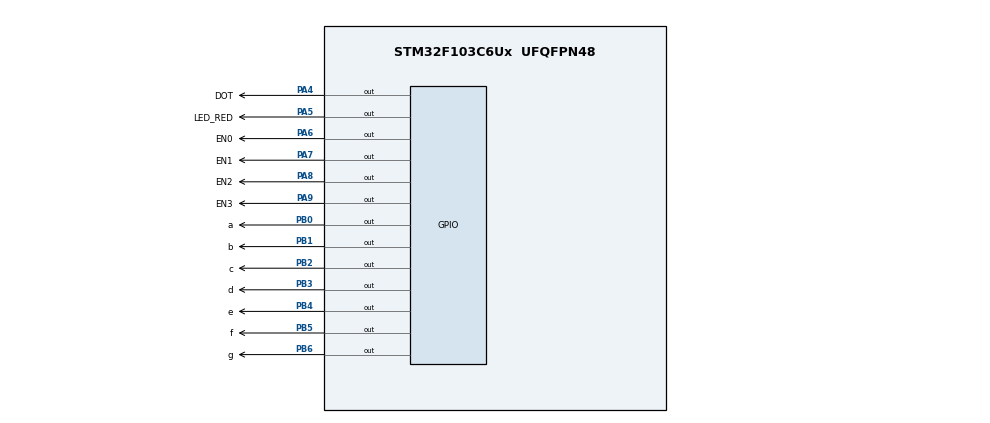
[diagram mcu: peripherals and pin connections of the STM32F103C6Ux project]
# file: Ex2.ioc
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Mcu.Family=STM32F1
Mcu.Name=STM32F103C6Ux
Mcu.Package=UFQFPN48
NVIC.PriorityGroup=NVIC_PRIORITYGROUP_4
NVIC.TIM2_IRQn=true\:0\:0\:false\:false\:true\:true\:true
PA4.GPIO_Label=DOT
PA4.Signal=GPIO_Output
PA5.GPIO_Label=LED_RED
PA5.Signal=GPIO_Output
PA6.GPIO_Label=EN0
PA6.Signal=GPIO_Output
PA7.GPIO_Label=EN1
PA7.Signal=GPIO_Output
PA8.GPIO_Label=EN2
PA8.Signal=GPIO_Output
PA9.GPIO_Label=EN3
PA9.Signal=GPIO_Output
PB0.GPIO_Label=a
PB0.Signal=GPIO_Output
PB1.GPIO_Label=b
PB1.Signal=GPIO_Output
PB2.GPIO_Label=c
PB2.Signal=GPIO_Output
PB3.GPIO_Label=d
PB3.Signal=GPIO_Output
PB4.GPIO_Label=e
PB4.Signal=GPIO_Output
PB5.GPIO_Label=f
PB5.Signal=GPIO_Output
PB6.GPIO_Label=g
PB6.Signal=GPIO_Output
ProjectManager.HeapSize=0x200
ProjectManager.StackSize=0x400
ProjectManager.TargetToolchain=STM32CubeIDE
RCC.APB1Freq_Value=8000000
RCC.APB2Freq_Value=8000000
TIM2.Period=9
TIM2.Prescaler=7999
VP_SYS_VS_ND.Mode=No_Debug
VP_TIM2_VS_ClockSourceINT.Mode=Internal
board=custom

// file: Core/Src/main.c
/* USER CODE BEGIN Header */
/**
  ******************************************************************************
  * @file           : main.c
  * @brief          : Main program body
  ******************************************************************************
  * @attention
  *
  * <h2><center>&copy; Copyright (c) 2024 STMicroelectronics.
  * All rights reserved.</center></h2>
  *
  * This software component is licensed by ST under BSD 3-Clause license,
  * the "License"; You may not use this file except in compliance with the
  * License. You may obtain a copy of the License at:
  *                        opensource.org/licenses/BSD-3-Clause
  *
  ******************************************************************************
  */
/* USER CODE END Header */
#include "main.h"

/* USER CODE BEGIN Includes */
#include "software_timer.h"
#include "display7SEG.h"
/* USER CODE END Includes */

TIM_HandleTypeDef htim2;

void SystemClock_Config(void);
static void MX_TIM2_Init(void);
static void MX_GPIO_Init(void);
/* USER CODE BEGIN PFP */
void changeEN();
/* USER CODE END PFP */

int main(void)
{

  /* MCU Configuration--------------------------------------------------------*/

  /* Reset of all peripherals, Initializes the Flash interface and the Systick. */
  HAL_Init();

  /* Configure the system clock */
  SystemClock_Config();

  /* Initialize all configured peripherals */
  MX_TIM2_Init();
  MX_GPIO_Init();
  /* USER CODE BEGIN 2 */
  HAL_TIM_Base_Start_IT(&htim2);
  /* USER CODE END 2 */

  /* Infinite loop */
  /* USER CODE BEGIN WHILE */
  setTimer1(50);
  setTimer2(100);
  HAL_GPIO_WritePin(EN0_GPIO_Port, EN0_Pin, 0);
  HAL_GPIO_WritePin(EN1_GPIO_Port, EN1_Pin, 1);
  HAL_GPIO_WritePin(EN2_GPIO_Port, EN2_Pin, 1);
  HAL_GPIO_WritePin(EN3_GPIO_Port, EN3_Pin, 1);
  int status = 1;
  while (1)
  {
	  if(timer1_flag == 1){
		  changeEN();
		  switch(status){
		  	  case 1:
		  		  status = 2;
		  		  break;
		  	  case 2:
		  		  status = 3;
		  		  break;
		  	  case 3:
		  		  status = 0;
		  		  break;
		  	  case 0:
		  		  status = 1;
		  		  break;
		  	  default:
		  		  break;
		  }
		  setTimer1(50);
	  }

	  if(timer2_flag == 1){
		  HAL_GPIO_TogglePin(DOT_GPIO_Port, DOT_Pin);
		  setTimer2(100);
	  }

	  display7SEG(status);
    /* USER CODE END WHILE */

  }
}

void SystemClock_Config(void)
{
  RCC_OscInitTypeDef RCC_OscInitStruct = {0};
  RCC_ClkInitTypeDef RCC_ClkInitStruct = {0};

  /** Initializes the RCC Oscillators according to the specified parameters
  * in the RCC_OscInitTypeDef structure.
  */
  RCC_OscInitStruct.OscillatorType = RCC_OSCILLATORTYPE_HSI;
  RCC_OscInitStruct.HSIState = RCC_HSI_ON;
  RCC_OscInitStruct.HSICalibrationValue = RCC_HSICALIBRATION_DEFAULT;
  RCC_OscInitStruct.PLL.PLLState = RCC_PLL_NONE;
  if (HAL_RCC_OscConfig(&RCC_OscInitStruct) != HAL_OK)
  {
    Error_Handler();
  }
  /** Initializes the CPU, AHB and APB buses clocks
  */
  RCC_ClkInitStruct.ClockType = RCC_CLOCKTYPE_HCLK|RCC_CLOCKTYPE_SYSCLK
                              |RCC_CLOCKTYPE_PCLK1|RCC_CLOCKTYPE_PCLK2;
  RCC_ClkInitStruct.SYSCLKSource = RCC_SYSCLKSOURCE_HSI;
  RCC_ClkInitStruct.AHBCLKDivider = RCC_SYSCLK_DIV1;
  RCC_ClkInitStruct.APB1CLKDivider = RCC_HCLK_DIV1;
  RCC_ClkInitStruct.APB2CLKDivider = RCC_HCLK_DIV1;

  if (HAL_RCC_ClockConfig(&RCC_ClkInitStruct, FLASH_LATENCY_0) != HAL_OK)
  {
    Error_Handler();
  }
}

static void MX_TIM2_Init(void)
{

  TIM_ClockConfigTypeDef sClockSourceConfig = {0};
  TIM_MasterConfigTypeDef sMasterConfig = {0};

  htim2.Instance = TIM2;
  htim2.Init.Prescaler = 7999;
  htim2.Init.CounterMode = TIM_COUNTERMODE_UP;
  htim2.Init.Period = 9;
  htim2.Init.ClockDivision = TIM_CLOCKDIVISION_DIV1;
  htim2.Init.AutoReloadPreload = TIM_AUTORELOAD_PRELOAD_DISABLE;
  if (HAL_TIM_Base_Init(&htim2) != HAL_OK)
  {
    Error_Handler();
  }
  sClockSourceConfig.ClockSource = TIM_CLOCKSOURCE_INTERNAL;
  if (HAL_TIM_ConfigClockSource(&htim2, &sClockSourceConfig) != HAL_OK)
  {
    Error_Handler();
  }
  sMasterConfig.MasterOutputTrigger = TIM_TRGO_RESET;
  sMasterConfig.MasterSlaveMode = TIM_MASTERSLAVEMODE_DISABLE;
  if (HAL_TIMEx_MasterConfigSynchronization(&htim2, &sMasterConfig) != HAL_OK)
  {
    Error_Handler();
  }

}

static void MX_GPIO_Init(void)
{
  GPIO_InitTypeDef GPIO_InitStruct = {0};

  /* GPIO Ports Clock Enable */
  __HAL_RCC_GPIOA_CLK_ENABLE();
  __HAL_RCC_GPIOB_CLK_ENABLE();

  /*Configure GPIO pin Output Level */
  HAL_GPIO_WritePin(GPIOA, DOT_Pin|LED_RED_Pin|EN0_Pin|EN1_Pin
                          |EN2_Pin|EN3_Pin, GPIO_PIN_RESET);

  /*Configure GPIO pin Output Level */
  HAL_GPIO_WritePin(GPIOB, a_Pin|b_Pin|c_Pin|d_Pin
                          |e_Pin|f_Pin|g_Pin, GPIO_PIN_RESET);

  /*Configure GPIO pins : DOT_Pin LED_RED_Pin EN0_Pin EN1_Pin
                           EN2_Pin EN3_Pin */
  GPIO_InitStruct.Pin = DOT_Pin|LED_RED_Pin|EN0_Pin|EN1_Pin
                          |EN2_Pin|EN3_Pin;
  GPIO_InitStruct.Mode = GPIO_MODE_OUTPUT_PP;
  GPIO_InitStruct.Pull = GPIO_NOPULL;
  GPIO_InitStruct.Speed = GPIO_SPEED_FREQ_LOW;
  HAL_GPIO_Init(GPIOA, &GPIO_InitStruct);

  /*Configure GPIO pins : a_Pin b_Pin c_Pin d_Pin
                           e_Pin f_Pin g_Pin */
  GPIO_InitStruct.Pin = a_Pin|b_Pin|c_Pin|d_Pin
                          |e_Pin|f_Pin|g_Pin;
  GPIO_InitStruct.Mode = GPIO_MODE_OUTPUT_PP;
  GPIO_InitStruct.Pull = GPIO_NOPULL;
  GPIO_InitStruct.Speed = GPIO_SPEED_FREQ_LOW;
  HAL_GPIO_Init(GPIOB, &GPIO_InitStruct);

}

/* USER CODE BEGIN 4 */
void HAL_TIM_PeriodElapsedCallback(TIM_HandleTypeDef *htim)
{
	timer1Run();
	timer2Run();
}

void changeEN(){
	if(HAL_GPIO_ReadPin(EN0_GPIO_Port, EN0_Pin) == 0){
		HAL_GPIO_WritePin(EN0_GPIO_Port, EN0_Pin, 1);
		HAL_GPIO_WritePin(EN1_GPIO_Port, EN1_Pin, 0);
	}
	else if(HAL_GPIO_ReadPin(EN1_GPIO_Port, EN1_Pin) == 0){
		HAL_GPIO_WritePin(EN1_GPIO_Port, EN1_Pin, 1);
		HAL_GPIO_WritePin(EN2_GPIO_Port, EN2_Pin, 0);
	}
	else if(HAL_GPIO_ReadPin(EN2_GPIO_Port, EN2_Pin) == 0){
		HAL_GPIO_WritePin(EN2_GPIO_Port, EN2_Pin, 1);
		HAL_GPIO_WritePin(EN3_GPIO_Port, EN3_Pin, 0);
	}
	else if(HAL_GPIO_ReadPin(EN3_GPIO_Port, EN3_Pin) == 0){
		HAL_GPIO_WritePin(EN3_GPIO_Port, EN3_Pin, 1);
		HAL_GPIO_WritePin(EN0_GPIO_Port, EN0_Pin, 0);
	}
}
/* USER CODE END 4 */

void Error_Handler(void)
{
  __disable_irq();
  while (1)
  {
  }
}

/************************ (C) COPYRIGHT STMicroelectronics *****END OF FILE****/
